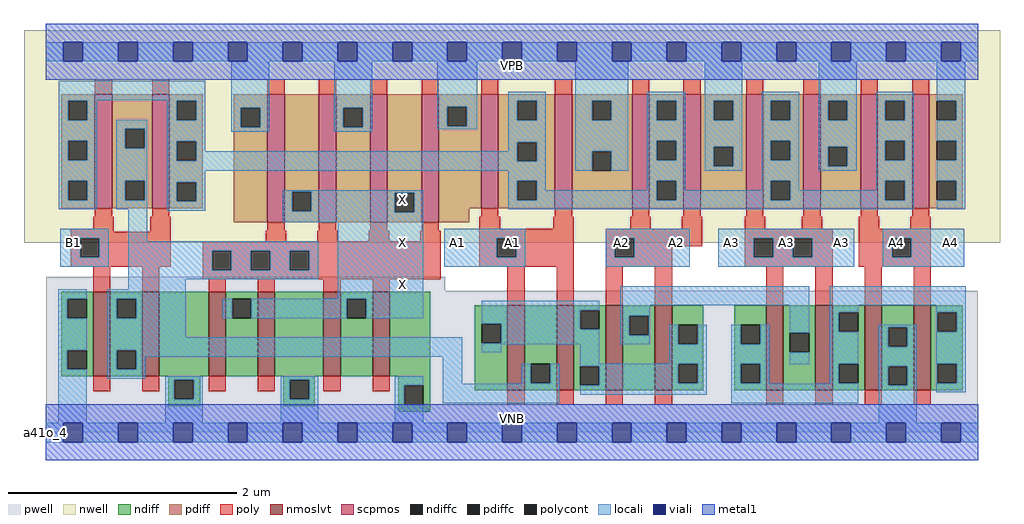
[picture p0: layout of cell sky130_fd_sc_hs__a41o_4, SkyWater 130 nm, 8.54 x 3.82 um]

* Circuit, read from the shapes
.subckt sky130_fd_sc_hs__a41o_4 A1 A2 A3 A4 B1 VGND VNB VPB VPWR X
XM1 n1 B1 VGND VNB sky130_fd_pr__nfet_01v8_lvt w=0.74 l=0.15 m=2
XM2 X n1 VGND VNB sky130_fd_pr__nfet_01v8_lvt w=0.74 l=0.15 m=4
XM3 n1 A1 n2 VNB sky130_fd_pr__nfet_01v8_lvt w=0.74 l=0.15 m=2
XM4 n3 A2 n2 VNB sky130_fd_pr__nfet_01v8_lvt w=0.74 l=0.15 m=2
XM5 n3 A3 n4 VNB sky130_fd_pr__nfet_01v8_lvt w=0.74 l=0.15 m=2
XM6 VGND A4 n4 VNB sky130_fd_pr__nfet_01v8_lvt w=0.74 l=0.15 m=2
XM7 n1 B1 n5 VPB sky130_fd_pr__pfet_01v8 w=1 l=0.15 m=2
XM8 X n1 VPWR VPB sky130_fd_pr__pfet_01v8 w=1.12 l=0.15 m=4
XM9 n5 A1 VPWR VPB sky130_fd_pr__pfet_01v8 w=1 l=0.15 m=2
XM10 n5 A2 VPWR VPB sky130_fd_pr__pfet_01v8 w=1 l=0.15 m=2
XM11 n5 A3 VPWR VPB sky130_fd_pr__pfet_01v8 w=1 l=0.15 m=2
XM12 n5 A4 VPWR VPB sky130_fd_pr__pfet_01v8 w=1 l=0.15 m=2
.ends

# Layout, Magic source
magic
tech sky130A
magscale 1 2
<< nwell >>
rect -38 332 1670 704
<< pwell >>
rect 1 248 699 272
rect 1 49 1631 248
rect 0 0 1632 49
<< scpmos >>
rect 86 392 116 592
rect 186 392 216 592
rect 388 368 418 592
rect 478 368 508 592
rect 568 368 598 592
rect 658 368 688 592
rect 762 392 792 592
rect 891 392 921 592
rect 1026 392 1056 592
rect 1116 392 1146 592
rect 1226 392 1256 592
rect 1326 392 1356 592
rect 1426 392 1456 592
rect 1516 392 1546 592
<< nmoslvt >>
rect 83 98 113 246
rect 169 98 199 246
rect 285 98 315 246
rect 371 98 401 246
rect 486 98 516 246
rect 572 98 602 246
rect 808 74 838 222
rect 894 74 924 222
rect 980 74 1010 222
rect 1066 74 1096 222
rect 1261 74 1291 222
rect 1347 74 1377 222
rect 1433 74 1463 222
rect 1519 74 1549 222
<< ndiff >>
rect 27 234 83 246
rect 27 200 38 234
rect 72 200 83 234
rect 27 144 83 200
rect 27 110 38 144
rect 72 110 83 144
rect 27 98 83 110
rect 113 234 169 246
rect 113 200 124 234
rect 158 200 169 234
rect 113 144 169 200
rect 113 110 124 144
rect 158 110 169 144
rect 113 98 169 110
rect 199 98 285 246
rect 315 234 371 246
rect 315 200 326 234
rect 360 200 371 234
rect 315 98 371 200
rect 401 98 486 246
rect 516 234 572 246
rect 516 200 527 234
rect 561 200 572 234
rect 516 98 572 200
rect 602 98 673 246
rect 214 92 270 98
rect 214 58 225 92
rect 259 58 270 92
rect 416 92 471 98
rect 214 46 270 58
rect 416 58 427 92
rect 461 58 471 92
rect 617 82 673 98
rect 416 46 471 58
rect 617 48 627 82
rect 661 48 673 82
rect 751 190 808 222
rect 751 156 763 190
rect 797 156 808 190
rect 751 74 808 156
rect 838 120 894 222
rect 838 86 849 120
rect 883 86 894 120
rect 838 74 894 86
rect 924 214 980 222
rect 924 180 935 214
rect 969 180 980 214
rect 924 116 980 180
rect 924 82 935 116
rect 969 82 980 116
rect 924 74 980 82
rect 1010 204 1066 222
rect 1010 170 1021 204
rect 1055 170 1066 204
rect 1010 74 1066 170
rect 1096 188 1151 222
rect 1096 154 1107 188
rect 1141 154 1151 188
rect 1096 120 1151 154
rect 1096 86 1107 120
rect 1141 86 1151 120
rect 1096 74 1151 86
rect 1205 188 1261 222
rect 1205 154 1216 188
rect 1250 154 1261 188
rect 1205 120 1261 154
rect 1205 86 1216 120
rect 1250 86 1261 120
rect 1205 74 1261 86
rect 1291 174 1347 222
rect 1291 140 1302 174
rect 1336 140 1347 174
rect 1291 74 1347 140
rect 1377 210 1433 222
rect 1377 176 1388 210
rect 1422 176 1433 210
rect 1377 120 1433 176
rect 1377 86 1388 120
rect 1422 86 1433 120
rect 1377 74 1433 86
rect 1463 184 1519 222
rect 1463 150 1474 184
rect 1508 150 1519 184
rect 1463 116 1519 150
rect 1463 82 1474 116
rect 1508 82 1519 116
rect 1463 74 1519 82
rect 1549 210 1605 222
rect 1549 176 1560 210
rect 1594 176 1605 210
rect 1549 120 1605 176
rect 1549 86 1560 120
rect 1594 86 1605 120
rect 1549 74 1605 86
rect 617 36 673 48
<< pdiff >>
rect 27 580 86 592
rect 27 546 39 580
rect 73 546 86 580
rect 27 510 86 546
rect 27 476 39 510
rect 73 476 86 510
rect 27 440 86 476
rect 27 406 39 440
rect 73 406 86 440
rect 27 392 86 406
rect 116 531 186 592
rect 116 497 139 531
rect 173 497 186 531
rect 116 440 186 497
rect 116 406 139 440
rect 173 406 186 440
rect 116 392 186 406
rect 216 580 275 592
rect 216 546 229 580
rect 263 546 275 580
rect 216 509 275 546
rect 216 475 229 509
rect 263 475 275 509
rect 216 438 275 475
rect 216 404 229 438
rect 263 404 275 438
rect 216 392 275 404
rect 329 568 388 592
rect 329 534 341 568
rect 375 534 388 568
rect 329 368 388 534
rect 418 421 478 592
rect 418 387 431 421
rect 465 387 478 421
rect 418 368 478 387
rect 508 568 568 592
rect 508 534 521 568
rect 555 534 568 568
rect 508 368 568 534
rect 598 419 658 592
rect 598 385 611 419
rect 645 385 658 419
rect 598 368 658 385
rect 688 570 762 592
rect 688 536 703 570
rect 737 536 762 570
rect 688 392 762 536
rect 792 580 891 592
rect 792 546 825 580
rect 859 546 891 580
rect 792 508 891 546
rect 792 474 825 508
rect 859 474 891 508
rect 792 440 891 474
rect 792 406 825 440
rect 859 406 891 440
rect 792 392 891 406
rect 921 580 1026 592
rect 921 546 956 580
rect 990 546 1026 580
rect 921 492 1026 546
rect 921 458 956 492
rect 990 458 1026 492
rect 921 392 1026 458
rect 1056 580 1116 592
rect 1056 546 1069 580
rect 1103 546 1116 580
rect 1056 510 1116 546
rect 1056 476 1069 510
rect 1103 476 1116 510
rect 1056 440 1116 476
rect 1056 406 1069 440
rect 1103 406 1116 440
rect 1056 392 1116 406
rect 1146 580 1226 592
rect 1146 546 1169 580
rect 1203 546 1226 580
rect 1146 500 1226 546
rect 1146 466 1169 500
rect 1203 466 1226 500
rect 1146 392 1226 466
rect 1256 580 1326 592
rect 1256 546 1269 580
rect 1303 546 1326 580
rect 1256 510 1326 546
rect 1256 476 1269 510
rect 1303 476 1326 510
rect 1256 440 1326 476
rect 1256 406 1269 440
rect 1303 406 1326 440
rect 1256 392 1326 406
rect 1356 580 1426 592
rect 1356 546 1369 580
rect 1403 546 1426 580
rect 1356 500 1426 546
rect 1356 466 1369 500
rect 1403 466 1426 500
rect 1356 392 1426 466
rect 1456 580 1516 592
rect 1456 546 1469 580
rect 1503 546 1516 580
rect 1456 510 1516 546
rect 1456 476 1469 510
rect 1503 476 1516 510
rect 1456 440 1516 476
rect 1456 406 1469 440
rect 1503 406 1516 440
rect 1456 392 1516 406
rect 1546 580 1605 592
rect 1546 546 1559 580
rect 1593 546 1605 580
rect 1546 510 1605 546
rect 1546 476 1559 510
rect 1593 476 1605 510
rect 1546 440 1605 476
rect 1546 406 1559 440
rect 1593 406 1605 440
rect 1546 392 1605 406
rect 688 368 741 392
<< ndiffc >>
rect 38 200 72 234
rect 38 110 72 144
rect 124 200 158 234
rect 124 110 158 144
rect 326 200 360 234
rect 527 200 561 234
rect 225 58 259 92
rect 427 58 461 92
rect 627 48 661 82
rect 763 156 797 190
rect 849 86 883 120
rect 935 180 969 214
rect 935 82 969 116
rect 1021 170 1055 204
rect 1107 154 1141 188
rect 1107 86 1141 120
rect 1216 154 1250 188
rect 1216 86 1250 120
rect 1302 140 1336 174
rect 1388 176 1422 210
rect 1388 86 1422 120
rect 1474 150 1508 184
rect 1474 82 1508 116
rect 1560 176 1594 210
rect 1560 86 1594 120
<< pdiffc >>
rect 39 546 73 580
rect 39 476 73 510
rect 39 406 73 440
rect 139 497 173 531
rect 139 406 173 440
rect 229 546 263 580
rect 229 475 263 509
rect 229 404 263 438
rect 341 534 375 568
rect 431 387 465 421
rect 521 534 555 568
rect 611 385 645 419
rect 703 536 737 570
rect 825 546 859 580
rect 825 474 859 508
rect 825 406 859 440
rect 956 546 990 580
rect 956 458 990 492
rect 1069 546 1103 580
rect 1069 476 1103 510
rect 1069 406 1103 440
rect 1169 546 1203 580
rect 1169 466 1203 500
rect 1269 546 1303 580
rect 1269 476 1303 510
rect 1269 406 1303 440
rect 1369 546 1403 580
rect 1369 466 1403 500
rect 1469 546 1503 580
rect 1469 476 1503 510
rect 1469 406 1503 440
rect 1559 546 1593 580
rect 1559 476 1593 510
rect 1559 406 1593 440
<< poly >>
rect 86 592 116 618
rect 186 592 216 618
rect 388 592 418 618
rect 478 592 508 618
rect 568 592 598 618
rect 658 592 688 618
rect 762 592 792 618
rect 891 592 921 618
rect 1026 592 1056 618
rect 1116 592 1146 618
rect 1226 592 1256 618
rect 1326 592 1356 618
rect 1426 592 1456 618
rect 1516 592 1546 618
rect 86 377 116 392
rect 186 377 216 392
rect 83 356 119 377
rect 44 351 119 356
rect 183 351 219 377
rect 762 377 792 392
rect 891 377 921 392
rect 1026 377 1056 392
rect 1116 377 1146 392
rect 1226 377 1256 392
rect 1326 377 1356 392
rect 1426 377 1456 392
rect 1516 377 1546 392
rect 388 353 418 368
rect 478 353 508 368
rect 568 353 598 368
rect 658 353 688 368
rect 759 356 795 377
rect 888 356 924 377
rect 1023 356 1059 377
rect 1113 356 1149 377
rect 44 340 219 351
rect 44 306 60 340
rect 94 306 219 340
rect 385 334 421 353
rect 475 334 511 353
rect 565 334 601 353
rect 655 334 691 353
rect 44 290 219 306
rect 275 318 691 334
rect 83 246 113 290
rect 169 246 199 290
rect 275 284 291 318
rect 325 284 359 318
rect 393 284 427 318
rect 461 284 691 318
rect 759 340 924 356
rect 759 306 789 340
rect 823 306 924 340
rect 759 290 924 306
rect 275 268 691 284
rect 285 246 315 268
rect 371 246 401 268
rect 486 246 516 268
rect 572 246 602 268
rect 808 222 838 290
rect 894 222 924 290
rect 980 340 1149 356
rect 980 306 996 340
rect 1030 326 1149 340
rect 1223 356 1259 377
rect 1323 356 1359 377
rect 1423 356 1459 377
rect 1513 356 1549 377
rect 1223 340 1377 356
rect 1030 306 1096 326
rect 980 290 1096 306
rect 1223 306 1239 340
rect 1273 306 1307 340
rect 1341 306 1377 340
rect 1223 290 1377 306
rect 1423 340 1549 356
rect 1423 306 1481 340
rect 1515 306 1549 340
rect 1423 290 1549 306
rect 980 222 1010 290
rect 1066 222 1096 290
rect 1261 222 1291 290
rect 1347 222 1377 290
rect 1433 222 1463 290
rect 1519 222 1549 290
rect 83 72 113 98
rect 169 72 199 98
rect 285 72 315 98
rect 371 72 401 98
rect 486 72 516 98
rect 572 72 602 98
rect 808 48 838 74
rect 894 48 924 74
rect 980 48 1010 74
rect 1066 48 1096 74
rect 1261 48 1291 74
rect 1347 48 1377 74
rect 1433 48 1463 74
rect 1519 48 1549 74
<< polycont >>
rect 60 306 94 340
rect 291 284 325 318
rect 359 284 393 318
rect 427 284 461 318
rect 789 306 823 340
rect 996 306 1030 340
rect 1239 306 1273 340
rect 1307 306 1341 340
rect 1481 306 1515 340
<< locali >>
rect 0 649 31 683
rect 65 649 127 683
rect 161 649 223 683
rect 257 649 319 683
rect 353 649 415 683
rect 449 649 511 683
rect 545 649 607 683
rect 641 649 703 683
rect 737 649 799 683
rect 833 649 895 683
rect 929 649 991 683
rect 1025 649 1087 683
rect 1121 649 1183 683
rect 1217 649 1279 683
rect 1313 649 1375 683
rect 1409 649 1471 683
rect 1505 649 1567 683
rect 1601 649 1632 683
rect 23 581 279 615
rect 23 580 89 581
rect 23 546 39 580
rect 73 546 89 580
rect 213 580 279 581
rect 23 510 89 546
rect 23 476 39 510
rect 73 476 89 510
rect 23 440 89 476
rect 23 406 39 440
rect 73 406 89 440
rect 23 390 89 406
rect 123 531 178 547
rect 123 497 139 531
rect 173 497 178 531
rect 123 440 178 497
rect 123 406 139 440
rect 173 406 178 440
rect 123 390 178 406
rect 25 340 110 356
rect 25 306 60 340
rect 94 306 110 340
rect 25 290 110 306
rect 144 334 178 390
rect 213 546 229 580
rect 263 546 279 580
rect 213 509 279 546
rect 325 568 391 649
rect 325 534 341 568
rect 375 534 391 568
rect 325 526 391 534
rect 505 568 571 649
rect 505 534 521 568
rect 555 534 571 568
rect 505 526 571 534
rect 685 570 755 649
rect 685 536 703 570
rect 737 536 755 570
rect 685 530 755 536
rect 809 580 875 596
rect 809 546 825 580
rect 859 546 875 580
rect 213 475 229 509
rect 263 492 279 509
rect 809 508 875 546
rect 809 492 825 508
rect 263 475 825 492
rect 213 474 825 475
rect 859 474 875 508
rect 213 458 875 474
rect 927 580 1019 649
rect 927 546 956 580
rect 990 546 1019 580
rect 927 492 1019 546
rect 927 458 956 492
rect 990 458 1019 492
rect 1053 580 1119 596
rect 1053 546 1069 580
rect 1103 546 1119 580
rect 1053 510 1119 546
rect 1053 476 1069 510
rect 1103 476 1119 510
rect 213 438 279 458
rect 213 404 229 438
rect 263 404 279 438
rect 809 440 875 458
rect 213 388 279 404
rect 415 421 661 424
rect 415 387 431 421
rect 465 419 661 421
rect 465 387 611 419
rect 415 385 611 387
rect 645 385 661 419
rect 809 406 825 440
rect 859 424 875 440
rect 1053 440 1119 476
rect 1153 580 1219 649
rect 1153 546 1169 580
rect 1203 546 1219 580
rect 1153 500 1219 546
rect 1153 466 1169 500
rect 1203 466 1219 500
rect 1153 458 1219 466
rect 1253 580 1319 596
rect 1253 546 1269 580
rect 1303 546 1319 580
rect 1253 510 1319 546
rect 1253 476 1269 510
rect 1303 476 1319 510
rect 1053 424 1069 440
rect 859 406 1069 424
rect 1103 424 1119 440
rect 1253 440 1319 476
rect 1353 580 1419 649
rect 1353 546 1369 580
rect 1403 546 1419 580
rect 1353 500 1419 546
rect 1353 466 1369 500
rect 1403 466 1419 500
rect 1353 458 1419 466
rect 1453 580 1519 596
rect 1453 546 1469 580
rect 1503 546 1519 580
rect 1453 510 1519 546
rect 1453 476 1469 510
rect 1503 476 1519 510
rect 1253 424 1269 440
rect 1103 406 1269 424
rect 1303 424 1319 440
rect 1453 440 1519 476
rect 1453 424 1469 440
rect 1303 406 1469 424
rect 1503 406 1519 440
rect 809 390 1519 406
rect 1559 580 1609 649
rect 1593 546 1609 580
rect 1559 510 1609 546
rect 1593 476 1609 510
rect 1559 440 1609 476
rect 1593 406 1609 440
rect 1559 390 1609 406
rect 415 368 661 385
rect 144 318 477 334
rect 144 284 291 318
rect 325 284 359 318
rect 393 284 427 318
rect 461 284 477 318
rect 144 268 477 284
rect 144 250 245 268
rect 22 234 72 250
rect 22 200 38 234
rect 22 144 72 200
rect 22 110 38 144
rect 22 17 72 110
rect 108 234 245 250
rect 511 234 661 368
rect 697 340 839 356
rect 697 306 789 340
rect 823 306 839 340
rect 697 290 839 306
rect 980 340 1127 356
rect 980 306 996 340
rect 1030 306 1127 340
rect 980 290 1127 306
rect 1177 340 1415 356
rect 1177 306 1239 340
rect 1273 306 1307 340
rect 1341 306 1415 340
rect 1177 290 1415 306
rect 1465 340 1607 356
rect 1465 306 1481 340
rect 1515 306 1607 340
rect 1465 290 1607 306
rect 108 200 124 234
rect 158 200 245 234
rect 310 200 326 234
rect 360 200 527 234
rect 561 200 661 234
rect 763 214 969 230
rect 108 166 245 200
rect 763 190 935 214
rect 108 144 729 166
rect 108 110 124 144
rect 158 132 729 144
rect 797 180 935 190
rect 797 156 969 180
rect 763 154 969 156
rect 1005 222 1336 256
rect 1005 204 1057 222
rect 1005 170 1021 204
rect 1055 170 1057 204
rect 1005 154 1057 170
rect 1091 154 1107 188
rect 1141 154 1157 188
rect 763 140 797 154
rect 158 110 174 132
rect 108 94 174 110
rect 209 92 275 98
rect 209 58 225 92
rect 259 58 275 92
rect 209 17 275 58
rect 411 92 477 98
rect 411 58 427 92
rect 461 58 477 92
rect 411 17 477 58
rect 611 82 661 98
rect 611 48 627 82
rect 695 85 729 132
rect 935 120 969 154
rect 1091 120 1157 154
rect 833 86 849 120
rect 883 86 899 120
rect 833 85 899 86
rect 695 51 899 85
rect 935 116 1107 120
rect 969 86 1107 116
rect 1141 86 1157 120
rect 969 82 1157 86
rect 935 66 1157 82
rect 1200 154 1216 188
rect 1250 154 1266 188
rect 1200 120 1266 154
rect 1200 86 1216 120
rect 1250 86 1266 120
rect 1302 174 1336 222
rect 1302 119 1336 140
rect 1372 222 1610 256
rect 1372 210 1422 222
rect 1372 176 1388 210
rect 1558 210 1610 222
rect 1372 120 1422 176
rect 1200 85 1266 86
rect 1372 86 1388 120
rect 1372 85 1422 86
rect 1200 51 1422 85
rect 1458 184 1524 188
rect 1458 150 1474 184
rect 1508 150 1524 184
rect 1458 116 1524 150
rect 1458 82 1474 116
rect 1508 82 1524 116
rect 611 17 661 48
rect 1458 17 1524 82
rect 1558 176 1560 210
rect 1594 176 1610 210
rect 1558 120 1610 176
rect 1558 86 1560 120
rect 1594 86 1610 120
rect 1558 70 1610 86
rect 0 -17 31 17
rect 65 -17 127 17
rect 161 -17 223 17
rect 257 -17 319 17
rect 353 -17 415 17
rect 449 -17 511 17
rect 545 -17 607 17
rect 641 -17 703 17
rect 737 -17 799 17
rect 833 -17 895 17
rect 929 -17 991 17
rect 1025 -17 1087 17
rect 1121 -17 1183 17
rect 1217 -17 1279 17
rect 1313 -17 1375 17
rect 1409 -17 1471 17
rect 1505 -17 1567 17
rect 1601 -17 1632 17
<< viali >>
rect 31 649 65 683
rect 127 649 161 683
rect 223 649 257 683
rect 319 649 353 683
rect 415 649 449 683
rect 511 649 545 683
rect 607 649 641 683
rect 703 649 737 683
rect 799 649 833 683
rect 895 649 929 683
rect 991 649 1025 683
rect 1087 649 1121 683
rect 1183 649 1217 683
rect 1279 649 1313 683
rect 1375 649 1409 683
rect 1471 649 1505 683
rect 1567 649 1601 683
rect 31 -17 65 17
rect 127 -17 161 17
rect 223 -17 257 17
rect 319 -17 353 17
rect 415 -17 449 17
rect 511 -17 545 17
rect 607 -17 641 17
rect 703 -17 737 17
rect 799 -17 833 17
rect 895 -17 929 17
rect 991 -17 1025 17
rect 1087 -17 1121 17
rect 1183 -17 1217 17
rect 1279 -17 1313 17
rect 1375 -17 1409 17
rect 1471 -17 1505 17
rect 1567 -17 1601 17
<< metal1 >>
rect 0 683 1632 715
rect 0 649 31 683
rect 65 649 127 683
rect 161 649 223 683
rect 257 649 319 683
rect 353 649 415 683
rect 449 649 511 683
rect 545 649 607 683
rect 641 649 703 683
rect 737 649 799 683
rect 833 649 895 683
rect 929 649 991 683
rect 1025 649 1087 683
rect 1121 649 1183 683
rect 1217 649 1279 683
rect 1313 649 1375 683
rect 1409 649 1471 683
rect 1505 649 1567 683
rect 1601 649 1632 683
rect 0 617 1632 649
rect 0 17 1632 49
rect 0 -17 31 17
rect 65 -17 127 17
rect 161 -17 223 17
rect 257 -17 319 17
rect 353 -17 415 17
rect 449 -17 511 17
rect 545 -17 607 17
rect 641 -17 703 17
rect 737 -17 799 17
rect 833 -17 895 17
rect 929 -17 991 17
rect 1025 -17 1087 17
rect 1121 -17 1183 17
rect 1217 -17 1279 17
rect 1313 -17 1375 17
rect 1409 -17 1471 17
rect 1505 -17 1567 17
rect 1601 -17 1632 17
rect 0 -49 1632 -17
<< labels >>
rlabel comment s 0 0 0 0 4 a41o_4
flabel pwell s 0 0 1632 49 0 FreeSans 200 0 0 0 VNB
port 7 nsew ground bidirectional
flabel nwell s 0 617 1632 666 0 FreeSans 200 0 0 0 VPB
port 8 nsew power bidirectional
flabel metal1 s 0 617 1632 666 0 FreeSans 340 0 0 0 VPWR
port 9 nsew power bidirectional
flabel metal1 s 0 0 1632 49 0 FreeSans 340 0 0 0 VGND
port 6 nsew ground bidirectional
flabel locali s 607 316 641 350 0 FreeSans 340 0 0 0 X
port 10 nsew signal output
flabel locali s 1183 316 1217 350 0 FreeSans 340 0 0 0 A3
port 3 nsew signal input
flabel locali s 1279 316 1313 350 0 FreeSans 340 0 0 0 A3
port 3 nsew signal input
flabel locali s 1375 316 1409 350 0 FreeSans 340 0 0 0 A3
port 3 nsew signal input
flabel locali s 1471 316 1505 350 0 FreeSans 340 0 0 0 A4
port 4 nsew signal input
flabel locali s 1567 316 1601 350 0 FreeSans 340 0 0 0 A4
port 4 nsew signal input
flabel locali s 703 316 737 350 0 FreeSans 340 0 0 0 A1
port 1 nsew signal input
flabel locali s 799 316 833 350 0 FreeSans 340 0 0 0 A1
port 1 nsew signal input
flabel locali s 991 316 1025 350 0 FreeSans 340 0 0 0 A2
port 2 nsew signal input
flabel locali s 1087 316 1121 350 0 FreeSans 340 0 0 0 A2
port 2 nsew signal input
flabel locali s 31 316 65 350 0 FreeSans 340 0 0 0 B1
port 5 nsew signal input
flabel locali s 607 390 641 424 0 FreeSans 340 0 0 0 X
port 10 nsew signal output
flabel locali s 607 242 641 276 0 FreeSans 340 0 0 0 X
port 10 nsew signal output
<< properties >>
string LEFsite unit
string LEFclass CORE
string FIXED_BBOX 0 0 1632 666
string GDS_FILE $PDKPATH/libs.ref/sky130_fd_sc_hs/gds/sky130_fd_sc_hs.gds
string LEFsymmetry X Y
string GDS_END 3637328
string GDS_START 3623918
<< end >>
